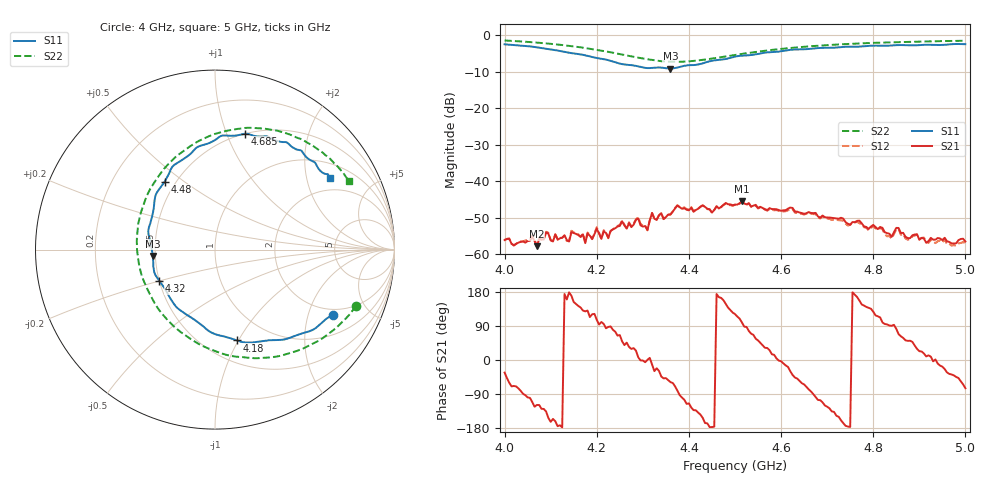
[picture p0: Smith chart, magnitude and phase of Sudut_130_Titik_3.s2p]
# Hz S RI R 50
! CMT, C1220, 16058040, 17.2.0/1
! Date: 15/08/2018 12:38:50
! Data: Format (Calibration Info)
! Freq  S11: Re/Im (F2)  S21: Re/Im (F2)  S12: Re/Im (F2)  S22: Re/Im (F2)
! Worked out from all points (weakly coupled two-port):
!   201 points, 4 GHz to 5 GHz, reference 50 ohm
!   highest |S21| = -45.59 dB at 4.515 GHz (marker M1); lowest = -57.8 dB at 4.07 GHz (marker M2)
!   lowest |S11| = -9.2 dB at 4.36 GHz (marker M3), VSWR 2.07, Z = 24.2 - j1.96 ohm
!   |S11| at or under -10 dB: nowhere
!   |S22| runs from -7.3 to -1.5 dB; largest |S21 - S12| = 0.00025
!   S11 on the Smith chart (normalised r, x): 4 GHz: 1.76, -2.90; 4.18 GHz: 0.71, -0.98; 4.32 GHz: 0.50, -0.20; 4.48 GHz: 0.44, +0.42; 4.685 GHz: 0.50, +1.17; 5 GHz: 1.51, +2.76
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4e9  0.6562 -0.3618  0.0013 -0.00085  0.00133 -0.000824  0.7851 -0.3149
4.06e9  0.5268 -0.4546  -0.000617 -0.00161  -0.000614 -0.00171  0.6653 -0.4442
4.07e9  0.4996 -0.4625  -0.000615 -0.00112  -0.000564 -0.00118  0.6397 -0.4638
4.09e9  0.4353 -0.4847  -0.0014 -0.00136  -0.00142 -0.00144  0.5851 -0.5029
4.105e9  0.3853 -0.5008  -0.00135 -0.000614  -0.00137 -0.000644  0.54 -0.5264
4.17e9  0.1535 -0.5154  -0.00121 0.00142  -0.00131 0.00138  0.3047 -0.6007
4.175e9  0.1373 -0.5113  -0.000875 0.00111  -0.000968 0.00111  0.2834 -0.6021
4.18e9  0.1208 -0.506  -0.00124 0.00145  -0.00134 0.00143  0.2624 -0.6033
4.225e9  -0.0357 -0.453  7.98e-05 0.00166  5.63e-05 0.00165  0.0659 -0.5871
4.29e9  -0.2392 -0.2871  0.00305 0.000382  0.00317 0.000402  -0.2097 -0.4442
4.31e9  -0.2847 -0.2101  0.00214 1.67e-05  0.00211 2.48e-05  -0.2805 -0.3742
4.32e9  -0.3105 -0.174  0.00357 -0.000773  0.00355 -0.000853  -0.3134 -0.3341
4.335e9  -0.3385 -0.126  0.00298 -0.00163  0.00294 -0.0017  -0.3528 -0.2679
4.36e9  -0.3468 -0.0356  0.00182 -0.00298  0.00183 -0.00295  -0.4061 -0.1515
4.375e9  -0.358 0.0334  0.000723 -0.00455  0.000734 -0.0046  -0.4243 -0.0767
4.48e9  -0.2807 0.3778  -0.00424 0.00268  -0.00408 0.0027  -0.3249 0.3944
4.5e9  -0.2485 0.4421  -0.00246 0.00407  -0.00244 0.00405  -0.2773 0.4577
4.515e9  -0.2272 0.4718  -0.000838 0.00519  -0.000778 0.0052  -0.2358 0.5006
4.67e9  0.1432 0.6404  -1.21e-05 -0.00363  -7.21e-05 -0.00352  0.2077 0.6782
4.685e9  0.1698 0.6461  -0.000874 -0.00304  -0.000866 -0.00295  0.2477 0.6757
4.835e9  0.4511 0.5591  -3.36e-05 0.0019  -6.4e-05 0.00176  0.5512 0.5743
5e9  0.6388 0.3967  0.000395 -0.00143  0.000484 -0.00132  0.7471 0.3817
